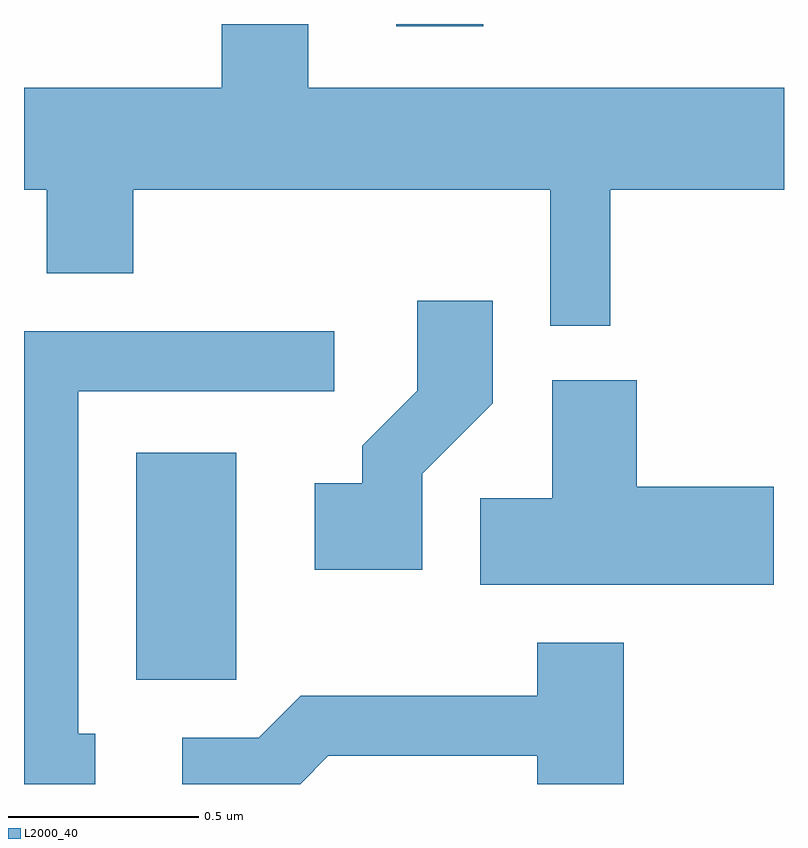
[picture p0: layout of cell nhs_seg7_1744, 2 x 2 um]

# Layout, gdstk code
import gdstk
lib = gdstk.Library(unit=1e-6, precision=1e-09)
def R(c, l, rs):  # rectangles x0, y0, x1, y1
    for r in rs: c.add(gdstk.rectangle(r[:2], r[2:], *l))
def P(c, l, *ps):  # polygons
    for p in ps: c.add(gdstk.Polygon(p, *l))
L2000_40 = (2000, 40)

nhs_seg7_1744 = lib.new_cell('nhs_seg7_1744')
R(nhs_seg7_1744, L2000_40, [(197.906,1768.526,198.169,1769.124), (198.591,1770.246,198.819,1770.252)])
P(nhs_seg7_1744, L2000_40, [(199.154,1769.816),(199.611,1769.816),(199.611,1770.084),(198.359,1770.084),(198.359,1770.252),(198.131,1770.252),(198.131,1770.084),(197.611,1770.084),(197.611,1769.816),(197.671,1769.816),(197.671,1769.596),(197.899,1769.596),(197.899,1769.816),(198.996,1769.816),(198.996,1769.458),(199.154,1769.458)],
  [(198.659,1769.069),(198.844,1769.254),(198.844,1769.524),(198.646,1769.524),(198.646,1769.287),(198.501,1769.142),(198.501,1769.044),(198.376,1769.044),(198.376,1768.816),(198.659,1768.816)],
  [(197.799,1768.384),(197.754,1768.384),(197.754,1769.286),(198.428,1769.286),(198.428,1769.444),(197.611,1769.444),(197.611,1768.252),(197.799,1768.252)],
  [(199.584,1769.034),(199.224,1769.034),(199.224,1769.314),(199.001,1769.314),(199.001,1769.004),(198.811,1769.004),(198.811,1768.776),(199.584,1768.776)],
  [(198.412,1768.326),(198.961,1768.326),(198.961,1768.252),(199.189,1768.252),(199.189,1768.624),(198.961,1768.624),(198.961,1768.484),(198.339,1768.484),(198.229,1768.374),(198.028,1768.374),(198.028,1768.252),(198.338,1768.252)])

lib.write_gds('nhs_seg7_1744.gds')
